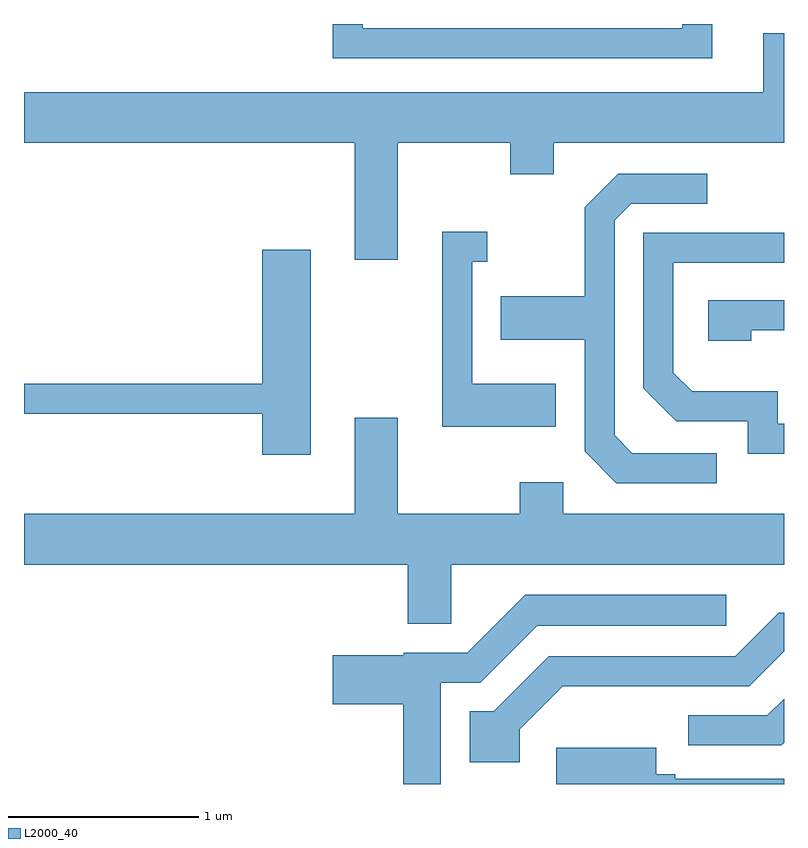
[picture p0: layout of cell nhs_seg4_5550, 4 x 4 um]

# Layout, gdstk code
import gdstk
lib = gdstk.Library(unit=1e-6, precision=1e-09)
def P(c, l, *ps):  # polygons
    for p in ps: c.add(gdstk.Polygon(p, *l))
L2000_40 = (2000, 40)

nhs_seg4_5550 = lib.new_cell('nhs_seg4_5550')
P(nhs_seg4_5550, L2000_40, [(351.234,1341.982),(351.076,1341.982),(351.076,1341.959),(349.394,1341.959),(349.394,1341.982),(349.236,1341.982),(349.236,1341.801),(351.234,1341.801)],
  [(349.579,1341.356),(350.171,1341.356),(350.171,1341.191),(350.399,1341.191),(350.399,1341.356),(351.611,1341.356),(351.611,1341.934),(351.501,1341.934),(351.501,1341.624),(347.611,1341.624),(347.611,1341.356),(349.351,1341.356),(349.351,1340.741),(349.579,1340.741)],
  [(351.258,1339.724),(350.812,1339.724),(350.719,1339.817),(350.719,1340.949),(350.807,1341.036),(351.208,1341.036),(351.208,1341.194),(350.739,1341.194),(350.561,1341.017),(350.561,1340.549),(350.121,1340.549),(350.121,1340.321),(350.561,1340.321),(350.561,1339.734),(350.729,1339.566),(351.258,1339.566)],
  [(350.409,1340.089),(349.969,1340.089),(349.969,1340.731),(350.048,1340.731),(350.048,1340.889),(349.811,1340.889),(349.811,1339.861),(350.409,1339.861)],
  [(351.611,1339.879),(351.579,1339.879),(351.579,1340.049),(351.127,1340.049),(351.029,1340.147),(351.029,1340.726),(351.611,1340.726),(351.611,1340.884),(350.871,1340.884),(350.871,1340.064),(351.044,1339.891),(351.421,1339.891),(351.421,1339.721),(351.611,1339.721)],
  [(349.119,1340.794),(348.866,1340.794),(348.866,1340.089),(347.611,1340.089),(347.611,1339.931),(348.866,1339.931),(348.866,1339.716),(349.119,1339.716)],
  [(351.439,1340.371),(351.611,1340.371),(351.611,1340.529),(351.211,1340.529),(351.211,1340.316),(351.439,1340.316)],
  [(349.859,1339.136),(351.611,1339.136),(351.611,1339.404),(350.449,1339.404),(350.449,1339.569),(350.221,1339.569),(350.221,1339.404),(349.579,1339.404),(349.579,1339.909),(349.351,1339.909),(349.351,1339.404),(347.611,1339.404),(347.611,1339.136),(349.631,1339.136),(349.631,1338.826),(349.859,1338.826)],
  [(349.804,1338.516),(350.012,1338.516),(350.312,1338.816),(351.308,1338.816),(351.308,1338.979),(350.249,1338.979),(349.944,1338.674),(349.61,1338.674),(349.61,1338.659),(349.236,1338.659),(349.236,1338.401),(349.606,1338.401),(349.606,1337.982),(349.804,1337.982)],
  [(350.219,1338.269),(350.447,1338.496),(351.427,1338.496),(351.611,1338.68),(351.611,1338.884),(351.584,1338.884),(351.354,1338.654),(350.374,1338.654),(350.084,1338.364),(349.956,1338.364),(349.956,1338.096),(350.219,1338.096)],
  [(351.611,1338.2),(351.611,1338.431),(351.524,1338.344),(351.108,1338.344),(351.108,1338.186),(351.597,1338.186)],
  [(351.611,1338.009),(351.039,1338.009),(351.039,1338.034),(350.939,1338.034),(350.939,1338.174),(350.411,1338.174),(350.411,1337.982),(351.611,1337.982)])

lib.write_gds('nhs_seg4_5550.gds')
